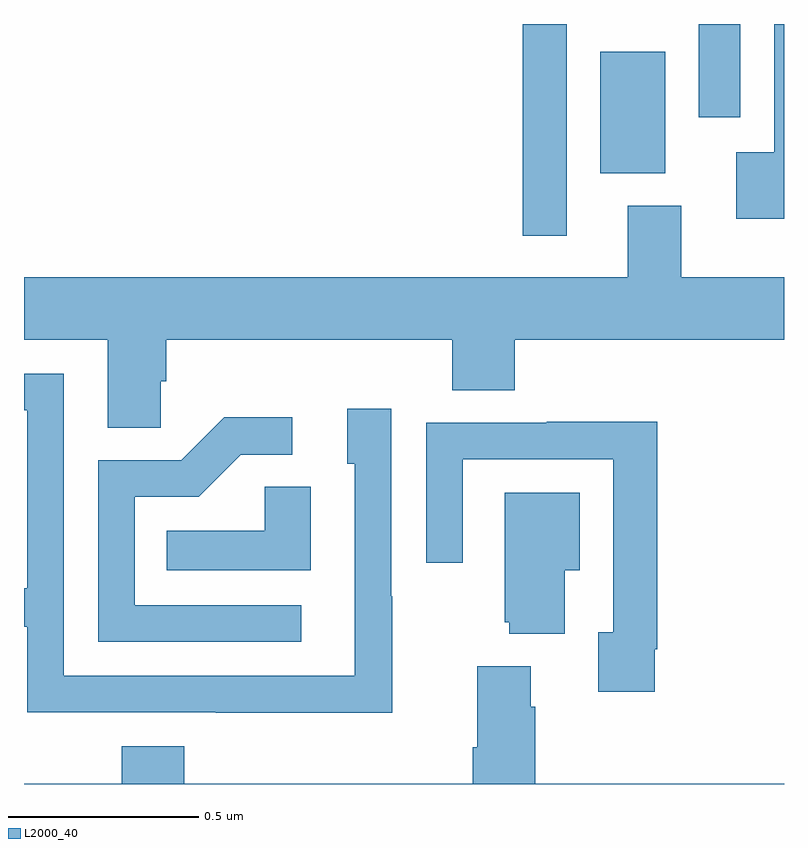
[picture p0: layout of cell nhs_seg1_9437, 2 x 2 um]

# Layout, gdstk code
import gdstk
lib = gdstk.Library(unit=1e-6, precision=1e-09)
def R(c, l, rs):  # rectangles x0, y0, x1, y1
    for r in rs: c.add(gdstk.rectangle(r[:2], r[2:], *l))
def P(c, l, *ps):  # polygons
    for p in ps: c.add(gdstk.Polygon(p, *l))
L2000_40 = (2000, 40)

nhs_seg1_9437 = lib.new_cell('nhs_seg1_9437')
R(nhs_seg1_9437, L2000_40, [(229.312,582.642,229.428,583.199), (229.517,582.806,229.687,583.126), (229.775,582.954,229.885,583.199)])
P(nhs_seg1_9437, L2000_40, [(230,583.199),(229.974,583.199),(229.974,582.862),(229.874,582.862),(229.874,582.686),(230,582.686)],
  [(228,582.368),(228.221,582.368),(228.221,582.136),(228.36,582.136),(228.36,582.259),(228.374,582.259),(228.374,582.368),(229.127,582.368),(229.127,582.235),(229.292,582.235),(229.292,582.368),(230,582.368),(230,582.532),(229.729,582.532),(229.729,582.721),(229.589,582.721),(229.589,582.532),(228,582.532)],
  [(228.969,581.693),(228.966,581.693),(228.966,582.187),(228.851,582.187),(228.851,582.042),(228.87,582.042),(228.87,581.484),(228.105,581.484),(228.105,582.279),(228,582.279),(228,582.183),(228.009,582.183),(228.009,581.714),(228,581.714),(228,581.613),(228.009,581.613),(228.009,581.388),(228.505,581.388),(228.505,581.387),(228.969,581.387)],
  [(228.73,581.67),(228.291,581.67),(228.291,581.955),(228.46,581.955),(228.571,582.066),(228.706,582.066),(228.706,582.164),(228.527,582.164),(228.414,582.051),(228.195,582.051),(228.195,581.574),(228.73,581.574)],
  [(229.66,581.554),(229.667,581.554),(229.667,582.152),(229.375,582.152),(229.375,582.15),(229.059,582.15),(229.059,581.781),(229.155,581.781),(229.155,582.054),(229.551,582.054),(229.551,581.598),(229.511,581.598),(229.511,581.442),(229.66,581.442)],
  [(228.754,581.981),(228.633,581.981),(228.633,581.866),(228.376,581.866),(228.376,581.762),(228.754,581.762)],
  [(229.423,581.762),(229.462,581.762),(229.462,581.965),(229.265,581.965),(229.265,581.625),(229.277,581.625),(229.277,581.594),(229.423,581.594)],
  [(230,581.2),(229.346,581.2),(229.346,581.402),(229.333,581.402),(229.333,581.509),(229.193,581.509),(229.193,581.296),(229.181,581.296),(229.181,581.2),(228.422,581.2),(228.422,581.299),(228.257,581.299),(228.257,581.2),(228,581.2),(228,581.199),(230,581.199)])

lib.write_gds('nhs_seg1_9437.gds')
